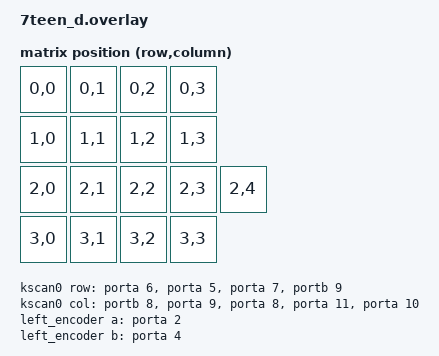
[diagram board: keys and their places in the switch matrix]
/*
 * Copyright (c) 2020 The ZMK Contributors
 *
 * SPDX-License-Identifier: MIT
 */

#include <dt-bindings/zmk/matrix_transform.h>

/ {
    chosen {
        zmk,kscan = &kscan0;
        zmk,matrix_transform = &default_transform;
	/delete-property/ zephyr,console;
	/delete-property/ zephyr,shell-uart;
    };

    default_transform: keymap_transform_0 {
        compatible = "zmk,matrix-transform";
        columns= <5>;
        rows = <4>;
        map = <
    RC(0,0) RC(0,1) RC(0,2) RC(0,3)
    RC(1,0) RC(1,1) RC(1,2) RC(1,3)
    RC(2,0) RC(2,1) RC(2,2) RC(2,3) RC(2,4)
    RC(3,0) RC(3,1) RC(3,2) RC(3,3)
        >;
    };

    kscan0: kscan_0 {
        compatible = "zmk,kscan-gpio-matrix";
        label = "KSCAN";
        diode-direction = "col2row";

        col-gpios
            = <&portb 8  GPIO_ACTIVE_HIGH>
            , <&porta 9  GPIO_ACTIVE_HIGH>
            , <&porta 8  GPIO_ACTIVE_HIGH>
            , <&porta 11 GPIO_ACTIVE_HIGH>
            , <&porta 10 GPIO_ACTIVE_HIGH>
            ;

        row-gpios
            = <&porta 6 (GPIO_ACTIVE_HIGH | GPIO_PULL_DOWN)>
            , <&porta 5 (GPIO_ACTIVE_HIGH | GPIO_PULL_DOWN)>
            , <&porta 7 (GPIO_ACTIVE_HIGH | GPIO_PULL_DOWN)>
            , <&portb 9 (GPIO_ACTIVE_HIGH | GPIO_PULL_DOWN)>
            ;
    };      

    left_encoder: encoder_left {
        compatible = "alps,ec11";
        label = "LEFT_ENCODER";
        a-gpios = <&porta 2 (GPIO_ACTIVE_HIGH | GPIO_PULL_DOWN)>;
        b-gpios = <&porta 4 (GPIO_ACTIVE_HIGH | GPIO_PULL_DOWN)>;
        resolution = <2>;
    };

    sensors {
        compatible = "zmk,keymap-sensors";
        sensors = <&left_encoder>;
    };
};

&left_encoder { status = "okay"; };
&sercom2 { status = "disabled"; }; // 4..5 - I2C
&sercom4 { status = "disabled"; }; // 6..7 - UART
&sercom0 { status = "disabled"; }; // 8..10 - SPI
